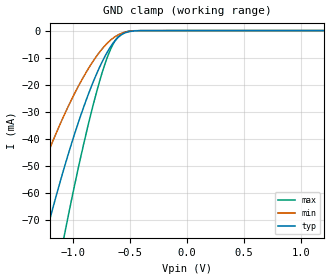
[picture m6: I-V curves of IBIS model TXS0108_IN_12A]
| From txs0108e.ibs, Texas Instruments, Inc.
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[Model]   TXS0108_IN_12A
Model_type  Input
Vinl=0.15
Vinh=1.0
| variable   typ   min   max
C_comp   3.10pF   2.74pF   3.31pF
[Temperature Range]   40   100   -40
| Ambient temperature   25   85   -40
[Voltage range]   1.2   1.2   1.2
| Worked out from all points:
|   GND clamp passes 1 mA (typ) near -0.55 V on its own axis
[GND Clamp]
| TXS0108_IN_12A
|   Voltage   I(typ)   I(min)   I(max)
-5.5V     -1.044A    -792.1mA   -1.306A
-1.49V    -118.9mA   -76.29mA   -173.1mA
-1.445V   -110.7mA   -70.73mA   -161.8mA
-1.235V   -74.67mA   -46.75mA   -111mA
-1.075V   -50.26mA   -30.94mA   -75.31mA
-1.04V    -45.34mA   -27.8mA    -67.95mA
-905mV    -28mA      -16.85mA   -41.56mA
-770mV    -13.77mA   -8.093mA   -19.13mA
-670mV    -5.91mA    -3.495mA   -6.844mA
-580mV    -1.681mA   -1.115mA   -1.359mA
-405mV    -29.17uA   -32.54uA   -7.014uA
1.2V      84.12pA    453pA      9.863pA
